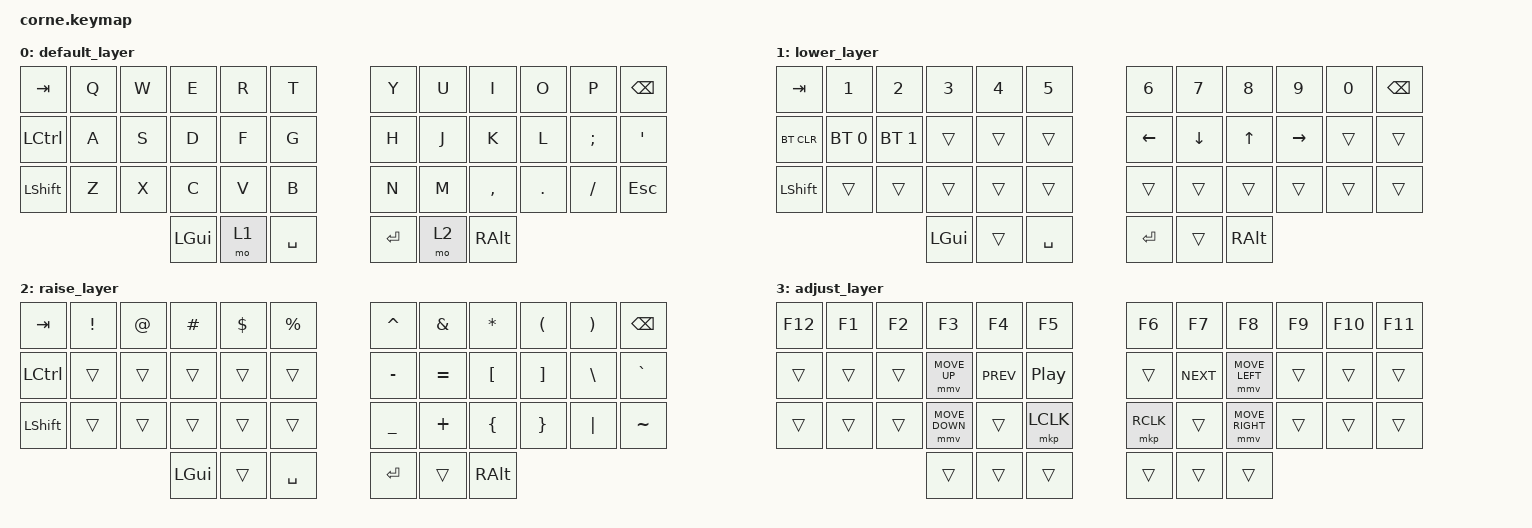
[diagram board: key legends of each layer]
/*
 * Copyright (c) 2020 The ZMK Contributors
 *
 * SPDX-License-Identifier: MIT
 */

#include <behaviors.dtsi>
#include <dt-bindings/zmk/keys.h>
#include <dt-bindings/zmk/bt.h>
#include <dt-bindings/zmk/mouse.h>

/ {
        conditional_layers {
                compatible = "zmk,conditional-layers";
                tri_layer {
                        if-layers = <1 2>;
                        then-layer = <3>;
                };
        };
        keymap {
                compatible = "zmk,keymap";

                default_layer {
// -----------------------------------------------------------------------------------------
// |  TAB |  Q  |  W  |  E  |  R  |  T  |   |  Y  |  U   |  I  |  O  |  P  | BSPC |
// | CTRL |  A  |  S  |  D  |  F  |  G  |   |  H  |  J   |  K  |  L  |  ;  |  '   |
// | SHFT |  Z  |  X  |  C  |  V  |  B  |   |  N  |  M   |  ,  |  .  |  /  | ESC  |
//                    | GUI | LWR | SPC |   | ENT | RSE  | ALT |
                        bindings = <
   &kp TAB   &kp Q &kp W &kp E &kp R &kp T   &kp Y &kp U  &kp I     &kp O   &kp P    &kp BSPC
   &kp LCTRL &kp A &kp S &kp D &kp F &kp G   &kp H &kp J  &kp K     &kp L   &kp SEMI &kp SQT
   &kp LSHFT &kp Z &kp X &kp C &kp V &kp B   &kp N &kp M  &kp COMMA &kp DOT &kp FSLH &kp ESC
                  &kp LGUI &mo 1 &kp SPACE   &kp RET &mo 2 &kp RALT
                        >;
                };
                lower_layer {
// -----------------------------------------------------------------------------------------
// |  TAB |  1  |  2  |  3  |  4  |  5  |   |  6  |  7  |  8  |  9  |  0  | BSPC |
// | BTCLR| BT1 | BT2 |     |     |     |   | LFT | DWN |  UP | RGT |     |      |
// | SHFT |     |     |     |     |     |   |     |     |     |     |     |      |
//                    | GUI |     | SPC |   | ENT |     | ALT |
                        bindings = <
   &kp TAB    &kp N1       &kp N2       &kp N3       &kp N4       &kp N5         &kp N6   &kp N7   &kp N8 &kp N9    &kp N0 &kp BSPC
   &bt BT_CLR &bt BT_SEL 0 &bt BT_SEL 1 &trans       &trans       &trans         &kp LEFT &kp DOWN &kp UP &kp RIGHT &trans &trans
   &kp LSHFT  &trans       &trans       &trans       &trans       &trans         &trans   &trans   &trans &trans    &trans &trans
                                        &kp LGUI     &trans       &kp SPACE      &kp RET  &trans   &kp RALT
                        >;
                };

                raise_layer {
// -----------------------------------------------------------------------------------------
// |  TAB |  !  |  @  |  #  |  $  |  %  |   |  ^  |  &  |  *  |  (  |  )  | BSPC |
// | CTRL |     |     |     |     |     |   |  -  |  =  |  [  |  ]  |  \  |  `   |
// | SHFT |     |     |     |     |     |   |  _  |  +  |  {  |  }  | "|" |  ~   |
//                    | GUI |     | SPC |   | ENT |     | ALT |
                        bindings = <
   &kp  TAB  &kp EXCL &kp AT &kp HASH &kp DLLR &kp PRCNT   &kp CARET &kp AMPS  &kp ASTRK &kp LPAR &kp RPAR &kp BSPC
   &kp LCTRL &trans   &trans &trans   &trans   &trans      &kp MINUS &kp EQUAL &kp LBKT  &kp RBKT &kp BSLH &kp GRAVE
   &kp LSHFT &trans   &trans &trans   &trans   &trans      &kp UNDER &kp PLUS  &kp LBRC  &kp RBRC &kp PIPE &kp TILDE
                             &kp LGUI &trans   &kp SPACE   &kp RET   &trans    &kp RALT
                        >;
                };

                adjust_layer {
// -----------------------------------------------------------------------------------------
// |  F11  |  F1  |  F2  |  F3  |  F4  |  F5  |   |  F6  |  F7  |  F8  |  F9  |  F10  | BSPC |
// |       |      |      |      |  ◀◀  |   ▶  |   |      |  ▶▶  |      |      |       |      |
// |       |      |      |      |      |      |   |      |      |      |      |       |      |
//                       |      |      |      |   |      |      |      |
                        bindings = <
   &kp F12 &kp F1   &kp F2 &kp F3         &kp F4     &kp F5          &kp F6    &kp F7     &kp F8          &kp F9  &kp F10 &kp F11
   &trans  &trans   &trans &mmv MOVE_UP   &kp C_PREV &kp C_PP        &trans    &kp C_NEXT &mmv MOVE_LEFT  &trans  &trans  &trans
   &trans  &trans   &trans &mmv MOVE_DOWN &trans     &mkp LCLK       &mkp RCLK &trans     &mmv MOVE_RIGHT &trans  &trans  &trans
                    &trans                &trans     &trans          &trans    &trans     &trans
                        >;
                };
        };
};
